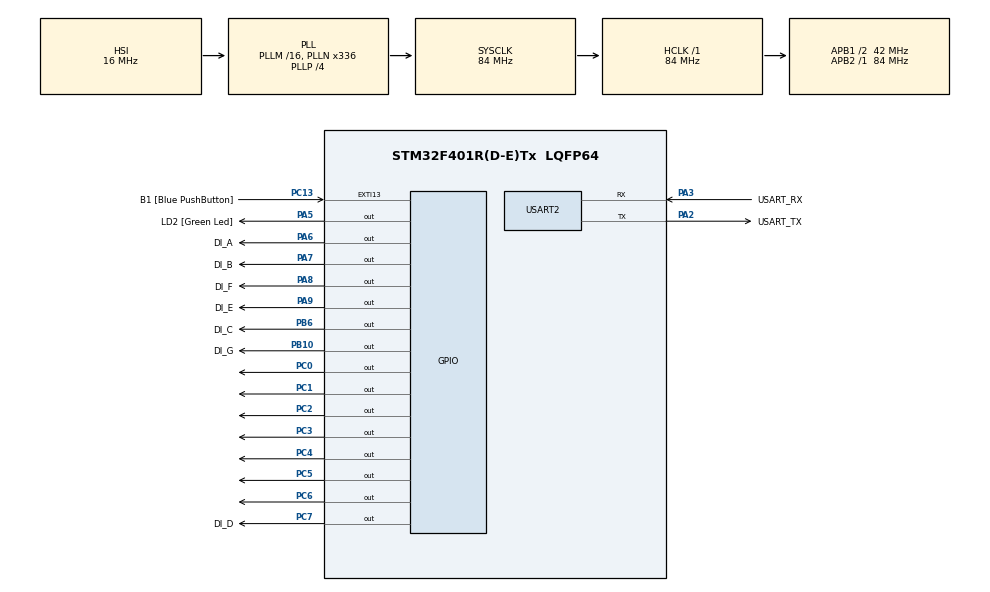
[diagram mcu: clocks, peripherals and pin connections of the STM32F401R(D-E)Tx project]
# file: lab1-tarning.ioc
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Mcu.Family=STM32F4
Mcu.Name=STM32F401R(D-E)Tx
Mcu.Package=LQFP64
NVIC.PriorityGroup=NVIC_PRIORITYGROUP_0
PA13.GPIO_Label=TMS
PA13.Mode=Serial_Wire
PA13.Signal=SYS_JTMS-SWDIO
PA14.GPIO_Label=TCK
PA14.Mode=Serial_Wire
PA14.Signal=SYS_JTCK-SWCLK
PA2.GPIO_Label=USART_TX
PA2.GPIO_Mode=GPIO_MODE_AF_PP
PA2.GPIO_PuPd=GPIO_NOPULL
PA2.GPIO_Speed=GPIO_SPEED_FREQ_LOW
PA2.Mode=Asynchronous
PA2.Signal=USART2_TX
PA3.GPIO_Label=USART_RX
PA3.GPIO_Mode=GPIO_MODE_AF_PP
PA3.GPIO_PuPd=GPIO_NOPULL
PA3.GPIO_Speed=GPIO_SPEED_FREQ_LOW
PA3.Mode=Asynchronous
PA3.Signal=USART2_RX
PA5.GPIO_Label=LD2 [Green Led]
PA5.GPIO_Mode=GPIO_MODE_OUTPUT_PP
PA5.GPIO_PuPd=GPIO_NOPULL
PA5.GPIO_Speed=GPIO_SPEED_FREQ_LOW
PA5.Signal=GPIO_Output
PA6.GPIO_Label=DI_A
PA6.Signal=GPIO_Output
PA7.GPIO_Label=DI_B
PA7.Signal=GPIO_Output
PA8.GPIO_Label=DI_F
PA8.Signal=GPIO_Output
PA9.GPIO_Label=DI_E
PA9.Signal=GPIO_Output
PB10.GPIO_Label=DI_G
PB10.Signal=GPIO_Output
PB3.GPIO_Label=SWO
PB3.Signal=SYS_JTDO-SWO
PB6.GPIO_Label=DI_C
PB6.Signal=GPIO_Output
PC0.Signal=GPIO_Output
PC1.Signal=GPIO_Output
PC13-ANTI_TAMP.GPIO_Label=B1 [Blue PushButton]
PC13-ANTI_TAMP.GPIO_ModeDefaultEXTI=GPIO_MODE_IT_FALLING
PC13-ANTI_TAMP.GPIO_PuPd=GPIO_NOPULL
PC13-ANTI_TAMP.Signal=GPXTI13
PC14-OSC32_IN.Mode=LSE-External-Oscillator
PC14-OSC32_IN.Signal=RCC_OSC32_IN
PC15-OSC32_OUT.Mode=LSE-External-Oscillator
PC15-OSC32_OUT.Signal=RCC_OSC32_OUT
PC2.Signal=GPIO_Output
PC3.Signal=GPIO_Output
PC4.Signal=GPIO_Output
PC5.Signal=GPIO_Output
PC6.Signal=GPIO_Output
PC7.GPIO_Label=DI_D
PC7.Signal=GPIO_Output
PH0\ -\ OSC_IN.Mode=HSE-External-Clock-Source
PH0\ -\ OSC_IN.Signal=RCC_OSC_IN
PH1\ -\ OSC_OUT.Mode=HSE-External-Clock-Source
PH1\ -\ OSC_OUT.Signal=RCC_OSC_OUT
ProjectManager.HeapSize=0x200
ProjectManager.StackSize=0x400
ProjectManager.TargetToolchain=STM32CubeIDE
RCC.48MHZClocksFreq_Value=48000000
RCC.AHBFreq_Value=84000000
RCC.APB1CLKDivider=RCC_HCLK_DIV2
RCC.APB1Freq_Value=42000000
RCC.APB1TimFreq_Value=84000000
RCC.APB2Freq_Value=84000000
RCC.APB2TimFreq_Value=84000000
RCC.CortexFreq_Value=84000000
RCC.HCLKFreq_Value=84000000
RCC.HSE_VALUE=8000000
RCC.HSI_VALUE=16000000
RCC.PLLN=336
RCC.PLLP=RCC_PLLP_DIV4
RCC.PLLQ=7
RCC.SYSCLKFreq_VALUE=84000000
RCC.SYSCLKSource=RCC_SYSCLKSOURCE_PLLCLK
RCC.VCOOutputFreq_Value=336000000
USART2.VirtualMode=VM_ASYNC
board=NUCLEO-F401RE

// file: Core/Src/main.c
/* USER CODE BEGIN Header */
/**
  ******************************************************************************
  * @file           : main.c
  * @brief          : Main program body
  ******************************************************************************
  * @attention
  *
  * Copyright (c) 2022 STMicroelectronics.
  * All rights reserved.
  *
  * This software is licensed under terms that can be found in the LICENSE file
  * in the root directory of this software component.
  * If no LICENSE file comes with this software, it is provided AS-IS.
  *
  ******************************************************************************
  */
/* USER CODE END Header */
#include "main.h"

 UART_HandleTypeDef huart2;

void SystemClock_Config(void);
static void MX_GPIO_Init(void);
static void MX_USART2_UART_Init(void);
/* USER CODE BEGIN PFP */
int is_blue_button_pressed();
void put_die_dots(uint8_t);
void reset_die();
void put_on_sseg(uint8_t dec_nbr);
/* USER CODE END PFP */

/* USER CODE BEGIN 0 */

const uint8_t sseg[10] = {
		0x3f,  // 0
		0x06,  // 1
		0x5b,  // 2
		0x4f,  // 3
		0x66,  // 4
		0x6d,  // 5
		0x7d,  // 6
		0x07,  // 7
		0x7f,  // 8
		0x6f,  // 9
		//0xdc   // err
};
const uint8_t sseg_err = 0xdc;

void put_on_sseg(uint8_t dec_nbr) {
	uint8_t pattern;
	if (dec_nbr >= 0 && dec_nbr <= 9) {
		pattern = sseg[dec_nbr];
	}
	else {
		pattern = sseg_err;
	}
	GPIOC->ODR = ~pattern;
}

int is_blue_button_pressed()
{
	uint32_t reg_reading = GPIOC->IDR;
	// Should be bit 13
	// to get a bit, shift right by position number and '&' (bitwise and) with 0x01
	return !((reg_reading >> 13) & 0x01);
}

void put_die_dots(uint8_t die_value)
{
	GPIO_PinState a, b, c, d, e, f, g;
	a = b = c = d = e = f = g = GPIO_PIN_RESET;
	switch (die_value)
	{
	case 1:
		d = GPIO_PIN_SET;
		break;
	case 2:
		a = g = GPIO_PIN_SET;
		break;
	case 3:
		a = d = g = GPIO_PIN_SET;
		break;
	case 4:
		a = c = e = g = GPIO_PIN_SET;
		break;
	case 5:
		a = c = d = e = g = GPIO_PIN_SET;
		break;
	case 6:
		a = b = c = e = f = g = GPIO_PIN_SET;
		break;
	default:
		a = b = c = d = e = f = g = GPIO_PIN_SET;
	}
	HAL_GPIO_WritePin(DI_A_GPIO_Port, DI_A_Pin, a);
	HAL_GPIO_WritePin(DI_B_GPIO_Port, DI_B_Pin, b);
	HAL_GPIO_WritePin(DI_C_GPIO_Port, DI_C_Pin, c);
	HAL_GPIO_WritePin(DI_D_GPIO_Port, DI_D_Pin, d);
	HAL_GPIO_WritePin(DI_E_GPIO_Port, DI_E_Pin, e);
	HAL_GPIO_WritePin(DI_F_GPIO_Port, DI_F_Pin, f);
	HAL_GPIO_WritePin(DI_G_GPIO_Port, DI_G_Pin, g);
}

void reset_die()
{
	HAL_GPIO_WritePin(DI_A_GPIO_Port, DI_A_Pin, GPIO_PIN_RESET);
	HAL_GPIO_WritePin(DI_B_GPIO_Port, DI_B_Pin, GPIO_PIN_RESET);
	HAL_GPIO_WritePin(DI_C_GPIO_Port, DI_C_Pin, GPIO_PIN_RESET);
	HAL_GPIO_WritePin(DI_D_GPIO_Port, DI_D_Pin, GPIO_PIN_RESET);
	HAL_GPIO_WritePin(DI_E_GPIO_Port, DI_E_Pin, GPIO_PIN_RESET);
	HAL_GPIO_WritePin(DI_F_GPIO_Port, DI_F_Pin, GPIO_PIN_RESET);
	HAL_GPIO_WritePin(DI_G_GPIO_Port, DI_G_Pin, GPIO_PIN_RESET);
}

uint32_t apa[10];

void test_endianness()
{
	// Initialize the array
	for (int i = 0; i < 10; i+= 2)
	{
		apa[i] = 0xDEADBEEF;
		apa[i+1] = 0xCAFED00D;
	}

	uint16_t a = apa[0];
	uint16_t b = apa[1];
	uint16_t c = apa[2];

	uint8_t x = apa[0];
	uint8_t y = apa[1];

	uint8_t *apa8 = (uint8_t *) apa;

	uint8_t p = apa8[0];
	uint8_t q = apa8[1];
	uint8_t r = apa8[2];
	uint8_t s = apa8[3];
	uint8_t t = apa8[4];

	uint16_t babe = 0xBABE;
	apa[0] = babe;

	return;
}

int pressed = 0;
/* USER CODE END 0 */

int main(void)
{

  /* MCU Configuration--------------------------------------------------------*/

  /* Reset of all peripherals, Initializes the Flash interface and the Systick. */
  HAL_Init();

  /* Configure the system clock */
  SystemClock_Config();

  /* Initialize all configured peripherals */
  MX_GPIO_Init();
  MX_USART2_UART_Init();
  /* USER CODE BEGIN 2 */
  //test_endianness();
  /* USER CODE END 2 */

  /* Infinite loop */
  /* USER CODE BEGIN WHILE */
  uint8_t die_value = 0; // 1 <= die_value <= 6
  while (1)
  {
	  if (is_blue_button_pressed())
	  {
		  reset_die();
		  //put_on_sseg(0x00E);
		  // inc die
		  die_value++;
		  if (die_value > 6) {
			  die_value = 1;
		  }
		  HAL_Delay(1);

		  HAL_GPIO_WritePin(LD2_GPIO_Port, LD2_Pin, GPIO_PIN_SET);
	  }
	  else {
		  HAL_GPIO_WritePin(LD2_GPIO_Port, LD2_Pin, GPIO_PIN_RESET);
	  }

	  put_die_dots(die_value);
	  //put_on_sseg(die_value);
    /* USER CODE END WHILE */

  }
}

void SystemClock_Config(void)
{
  RCC_OscInitTypeDef RCC_OscInitStruct = {0};
  RCC_ClkInitTypeDef RCC_ClkInitStruct = {0};

  /** Configure the main internal regulator output voltage
  */
  __HAL_RCC_PWR_CLK_ENABLE();
  __HAL_PWR_VOLTAGESCALING_CONFIG(PWR_REGULATOR_VOLTAGE_SCALE2);

  /** Initializes the RCC Oscillators according to the specified parameters
  * in the RCC_OscInitTypeDef structure.
  */
  RCC_OscInitStruct.OscillatorType = RCC_OSCILLATORTYPE_HSI;
  RCC_OscInitStruct.HSIState = RCC_HSI_ON;
  RCC_OscInitStruct.HSICalibrationValue = RCC_HSICALIBRATION_DEFAULT;
  RCC_OscInitStruct.PLL.PLLState = RCC_PLL_ON;
  RCC_OscInitStruct.PLL.PLLSource = RCC_PLLSOURCE_HSI;
  RCC_OscInitStruct.PLL.PLLM = 16;
  RCC_OscInitStruct.PLL.PLLN = 336;
  RCC_OscInitStruct.PLL.PLLP = RCC_PLLP_DIV4;
  RCC_OscInitStruct.PLL.PLLQ = 7;
  if (HAL_RCC_OscConfig(&RCC_OscInitStruct) != HAL_OK)
  {
    Error_Handler();
  }

  /** Initializes the CPU, AHB and APB buses clocks
  */
  RCC_ClkInitStruct.ClockType = RCC_CLOCKTYPE_HCLK|RCC_CLOCKTYPE_SYSCLK
                              |RCC_CLOCKTYPE_PCLK1|RCC_CLOCKTYPE_PCLK2;
  RCC_ClkInitStruct.SYSCLKSource = RCC_SYSCLKSOURCE_PLLCLK;
  RCC_ClkInitStruct.AHBCLKDivider = RCC_SYSCLK_DIV1;
  RCC_ClkInitStruct.APB1CLKDivider = RCC_HCLK_DIV2;
  RCC_ClkInitStruct.APB2CLKDivider = RCC_HCLK_DIV1;

  if (HAL_RCC_ClockConfig(&RCC_ClkInitStruct, FLASH_LATENCY_2) != HAL_OK)
  {
    Error_Handler();
  }
}

static void MX_USART2_UART_Init(void)
{

  huart2.Instance = USART2;
  huart2.Init.BaudRate = 115200;
  huart2.Init.WordLength = UART_WORDLENGTH_8B;
  huart2.Init.StopBits = UART_STOPBITS_1;
  huart2.Init.Parity = UART_PARITY_NONE;
  huart2.Init.Mode = UART_MODE_TX_RX;
  huart2.Init.HwFlowCtl = UART_HWCONTROL_NONE;
  huart2.Init.OverSampling = UART_OVERSAMPLING_16;
  if (HAL_UART_Init(&huart2) != HAL_OK)
  {
    Error_Handler();
  }

}

static void MX_GPIO_Init(void)
{
  GPIO_InitTypeDef GPIO_InitStruct = {0};

  /* GPIO Ports Clock Enable */
  __HAL_RCC_GPIOC_CLK_ENABLE();
  __HAL_RCC_GPIOH_CLK_ENABLE();
  __HAL_RCC_GPIOA_CLK_ENABLE();
  __HAL_RCC_GPIOB_CLK_ENABLE();

  /*Configure GPIO pin Output Level */
  HAL_GPIO_WritePin(GPIOC, GPIO_PIN_0|GPIO_PIN_1|GPIO_PIN_2|GPIO_PIN_3
                          |GPIO_PIN_4|GPIO_PIN_5|GPIO_PIN_6|DI_D_Pin, GPIO_PIN_RESET);

  /*Configure GPIO pin Output Level */
  HAL_GPIO_WritePin(GPIOA, LD2_Pin|DI_A_Pin|DI_B_Pin|DI_F_Pin
                          |DI_E_Pin, GPIO_PIN_RESET);

  /*Configure GPIO pin Output Level */
  HAL_GPIO_WritePin(GPIOB, DI_G_Pin|DI_C_Pin, GPIO_PIN_RESET);

  /*Configure GPIO pin : B1_Pin */
  GPIO_InitStruct.Pin = B1_Pin;
  GPIO_InitStruct.Mode = GPIO_MODE_IT_FALLING;
  GPIO_InitStruct.Pull = GPIO_NOPULL;
  HAL_GPIO_Init(B1_GPIO_Port, &GPIO_InitStruct);

  /*Configure GPIO pins : PC0 PC1 PC2 PC3
                           PC4 PC5 PC6 DI_D_Pin */
  GPIO_InitStruct.Pin = GPIO_PIN_0|GPIO_PIN_1|GPIO_PIN_2|GPIO_PIN_3
                          |GPIO_PIN_4|GPIO_PIN_5|GPIO_PIN_6|DI_D_Pin;
  GPIO_InitStruct.Mode = GPIO_MODE_OUTPUT_PP;
  GPIO_InitStruct.Pull = GPIO_NOPULL;
  GPIO_InitStruct.Speed = GPIO_SPEED_FREQ_LOW;
  HAL_GPIO_Init(GPIOC, &GPIO_InitStruct);

  /*Configure GPIO pins : LD2_Pin DI_A_Pin DI_B_Pin DI_F_Pin
                           DI_E_Pin */
  GPIO_InitStruct.Pin = LD2_Pin|DI_A_Pin|DI_B_Pin|DI_F_Pin
                          |DI_E_Pin;
  GPIO_InitStruct.Mode = GPIO_MODE_OUTPUT_PP;
  GPIO_InitStruct.Pull = GPIO_NOPULL;
  GPIO_InitStruct.Speed = GPIO_SPEED_FREQ_LOW;
  HAL_GPIO_Init(GPIOA, &GPIO_InitStruct);

  /*Configure GPIO pins : DI_G_Pin DI_C_Pin */
  GPIO_InitStruct.Pin = DI_G_Pin|DI_C_Pin;
  GPIO_InitStruct.Mode = GPIO_MODE_OUTPUT_PP;
  GPIO_InitStruct.Pull = GPIO_NOPULL;
  GPIO_InitStruct.Speed = GPIO_SPEED_FREQ_LOW;
  HAL_GPIO_Init(GPIOB, &GPIO_InitStruct);

}

void Error_Handler(void)
{
  __disable_irq();
  while (1)
  {
  }
}
